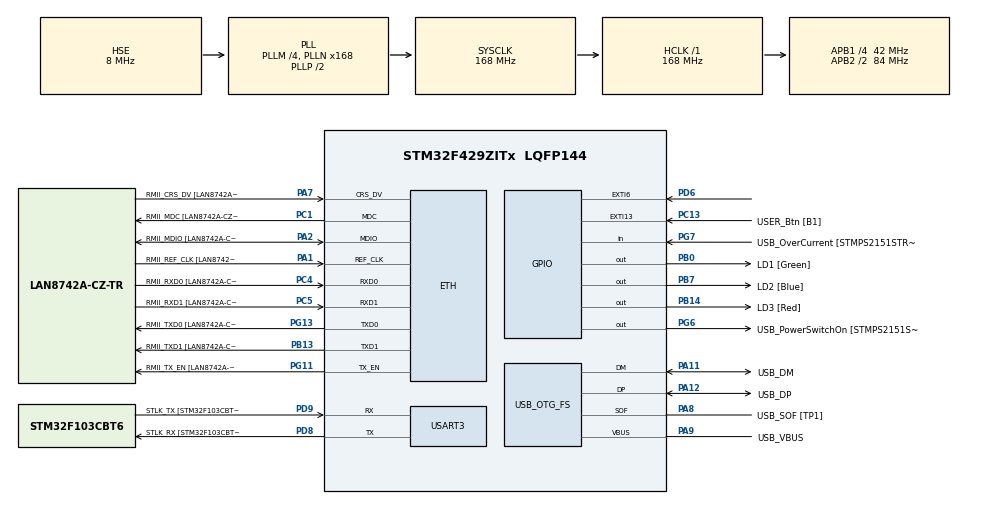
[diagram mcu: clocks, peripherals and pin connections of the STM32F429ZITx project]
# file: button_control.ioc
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ETH.MediaInterface=HAL_ETH_RMII_MODE
ETH.PHY_Name=LAN8742A_PHY_ADDRESS
ETH.PHY_Value=0
ETH.PhyAddress=0
Mcu.Family=STM32F4
Mcu.Name=STM32F429ZITx
Mcu.Package=LQFP144
NVIC.EXTI15_10_IRQn=true\:0\:0\:false\:true\:true\:3\:true\:true\:true
NVIC.EXTI9_5_IRQn=true\:0\:0\:false\:true\:true\:1\:true\:true\:true
NVIC.PriorityGroup=NVIC_PRIORITYGROUP_4
NVIC.USART3_IRQn=true\:0\:0\:false\:true\:true\:2\:true\:true\:true
PA1.GPIO_Label=RMII_REF_CLK [LAN8742A-CZ-TR_REFCLK0]
PA1.Mode=RMII
PA1.Signal=ETH_REF_CLK
PA10.GPIO_Label=USB_ID
PA10.Signal=USB_OTG_FS_ID
PA11.GPIO_Label=USB_DM
PA11.Mode=Device_Only
PA11.Signal=USB_OTG_FS_DM
PA12.GPIO_Label=USB_DP
PA12.Mode=Device_Only
PA12.Signal=USB_OTG_FS_DP
PA13.GPIO_Label=TMS
PA13.Mode=Serial_Wire
PA13.Signal=SYS_JTMS-SWDIO
PA14.GPIO_Label=TCK
PA14.Mode=Serial_Wire
PA14.Signal=SYS_JTCK-SWCLK
PA2.GPIO_Label=RMII_MDIO [LAN8742A-CZ-TR_MDIO]
PA2.Mode=RMII
PA2.Signal=ETH_MDIO
PA7.GPIO_Label=RMII_CRS_DV [LAN8742A-CZ-TR_CRS_DV]
PA7.Mode=RMII
PA7.Signal=ETH_CRS_DV
PA8.GPIO_Label=USB_SOF [TP1]
PA8.Mode=Activate_SOF_FS
PA8.Signal=USB_OTG_FS_SOF
PA9.GPIO_Label=USB_VBUS
PA9.Mode=Activate_VBUS
PA9.Signal=USB_OTG_FS_VBUS
PB0.GPIO_Label=LD1 [Green]
PB0.Signal=GPIO_Output
PB13.GPIO_Label=RMII_TXD1 [LAN8742A-CZ-TR_TXD1]
PB13.Mode=RMII
PB13.Signal=ETH_TXD1
PB14.GPIO_Label=LD3 [Red]
PB14.Signal=GPIO_Output
PB7.GPIO_Label=LD2 [Blue]
PB7.Signal=GPIO_Output
PC1.GPIO_Label=RMII_MDC [LAN8742A-CZ-TR_MDC]
PC1.Mode=RMII
PC1.Signal=ETH_MDC
PC13.GPIO_Label=USER_Btn [B1]
PC13.GPIO_ModeDefaultEXTI=GPIO_MODE_IT_RISING_FALLING
PC13.Signal=GPXTI13
PC14/OSC32_IN.Mode=LSE-External-Oscillator
PC14/OSC32_IN.Signal=RCC_OSC32_IN
PC15/OSC32_OUT.Mode=LSE-External-Oscillator
PC15/OSC32_OUT.Signal=RCC_OSC32_OUT
PC4.GPIO_Label=RMII_RXD0 [LAN8742A-CZ-TR_RXD0]
PC4.Mode=RMII
PC4.Signal=ETH_RXD0
PC5.GPIO_Label=RMII_RXD1 [LAN8742A-CZ-TR_RXD1]
PC5.Mode=RMII
PC5.Signal=ETH_RXD1
PD6.GPIO_ModeDefaultEXTI=GPIO_MODE_IT_RISING_FALLING
PD6.GPIO_PuPd=GPIO_NOPULL
PD6.Signal=GPXTI6
PD8.GPIO_Label=STLK_RX [STM32F103CBT6_PA3]
PD8.Mode=Asynchronous
PD8.Signal=USART3_TX
PD9.GPIO_Label=STLK_TX [STM32F103CBT6_PA2]
PD9.Mode=Asynchronous
PD9.Signal=USART3_RX
PG11.GPIO_Label=RMII_TX_EN [LAN8742A-CZ-TR_TXEN]
PG11.Mode=RMII
PG11.Signal=ETH_TX_EN
PG13.GPIO_Label=RMII_TXD0 [LAN8742A-CZ-TR_TXD0]
PG13.Mode=RMII
PG13.Signal=ETH_TXD0
PG6.GPIO_Label=USB_PowerSwitchOn [STMPS2151STR_EN]
PG6.Signal=GPIO_Output
PG7.GPIO_Label=USB_OverCurrent [STMPS2151STR_FAULT]
PG7.Signal=GPIO_Input
PH0/OSC_IN.GPIO_Label=MCO [STM32F103CBT6_PA8]
PH0/OSC_IN.Mode=HSE-External-Clock-Source
PH0/OSC_IN.Signal=RCC_OSC_IN
PH1/OSC_OUT.Mode=HSE-External-Clock-Source
PH1/OSC_OUT.Signal=RCC_OSC_OUT
ProjectManager.HeapSize=0x200
ProjectManager.StackSize=0x400
ProjectManager.TargetToolchain=STM32CubeIDE
RCC.48MHZClocksFreq_Value=48000000
RCC.AHBFreq_Value=168000000
RCC.APB1CLKDivider=RCC_HCLK_DIV4
RCC.APB1Freq_Value=42000000
RCC.APB1TimFreq_Value=84000000
RCC.APB2CLKDivider=RCC_HCLK_DIV2
RCC.APB2Freq_Value=84000000
RCC.APB2TimCLKDivider=2
RCC.APB2TimFreq_Value=168000000
RCC.CortexFreq_Value=168000000
RCC.HCLKFreq_Value=168000000
RCC.HSE_VALUE=8000000
RCC.HSI_VALUE=16000000
RCC.PLLM=4
RCC.PLLMUL=RCC_PLL_MUL9
RCC.PLLN=168
RCC.PLLQ=7
RCC.PRESCALERUSB=RCC_USBCLKSOURCE_PLL_DIV1_5
RCC.SYSCLKFreq_VALUE=168000000
RCC.SYSCLKSource=RCC_SYSCLKSOURCE_PLLCLK
RCC.SYSCLKSourceVirtual=RCC_SYSCLKSOURCE_PLLCLK
RCC.USBFreq_Value=48000000
RCC.VCOOutputFreq_Value=336000000
USART3.VirtualMode=VM_ASYNC
USB_OTG_FS.VirtualMode=Device_Only
board=NUCLEO-F429ZI

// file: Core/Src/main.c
/* USER CODE BEGIN Header */
/**
  ******************************************************************************
  * @file           : main.c
  * @brief          : Main program body
  ******************************************************************************
  * @attention
  *
  * Copyright (c) 2023 STMicroelectronics.
  * All rights reserved.
  *
  * This software is licensed under terms that can be found in the LICENSE file
  * in the root directory of this software component.
  * If no LICENSE file comes with this software, it is provided AS-IS.
  *
  ******************************************************************************
  */
/* USER CODE END Header */
#include "main.h"
#include "eth.h"
#include "usart.h"
#include "usb_otg.h"
#include "gpio.h"

/* USER CODE BEGIN Includes */
#include "string.h"
#include "stdio.h"
/* USER CODE END Includes */

void SystemClock_Config(void);
static void MX_NVIC_Init(void);

int main(void)
{

  /* MCU Configuration--------------------------------------------------------*/

  /* Reset of all peripherals, Initializes the Flash interface and the Systick. */
  HAL_Init();

  /* Configure the system clock */
  SystemClock_Config();

  /* Initialize all configured peripherals */
  MX_GPIO_Init();
  MX_ETH_Init();
  MX_USART3_UART_Init();
  MX_USB_OTG_FS_PCD_Init();

  /* Initialize interrupts */
  MX_NVIC_Init();

  /* Infinite loop */
  while (1)
  {

  }
}

void SystemClock_Config(void)
{
  RCC_OscInitTypeDef RCC_OscInitStruct = {0};
  RCC_ClkInitTypeDef RCC_ClkInitStruct = {0};

  /** Configure the main internal regulator output voltage
  */
  __HAL_RCC_PWR_CLK_ENABLE();
  __HAL_PWR_VOLTAGESCALING_CONFIG(PWR_REGULATOR_VOLTAGE_SCALE1);

  /** Initializes the RCC Oscillators according to the specified parameters
  * in the RCC_OscInitTypeDef structure.
  */
  RCC_OscInitStruct.OscillatorType = RCC_OSCILLATORTYPE_HSE;
  RCC_OscInitStruct.HSEState = RCC_HSE_BYPASS;
  RCC_OscInitStruct.PLL.PLLState = RCC_PLL_ON;
  RCC_OscInitStruct.PLL.PLLSource = RCC_PLLSOURCE_HSE;
  RCC_OscInitStruct.PLL.PLLM = 4;
  RCC_OscInitStruct.PLL.PLLN = 168;
  RCC_OscInitStruct.PLL.PLLP = RCC_PLLP_DIV2;
  RCC_OscInitStruct.PLL.PLLQ = 7;
  if (HAL_RCC_OscConfig(&RCC_OscInitStruct) != HAL_OK)
  {
    Error_Handler();
  }

  /** Initializes the CPU, AHB and APB buses clocks
  */
  RCC_ClkInitStruct.ClockType = RCC_CLOCKTYPE_HCLK|RCC_CLOCKTYPE_SYSCLK
                              |RCC_CLOCKTYPE_PCLK1|RCC_CLOCKTYPE_PCLK2;
  RCC_ClkInitStruct.SYSCLKSource = RCC_SYSCLKSOURCE_PLLCLK;
  RCC_ClkInitStruct.AHBCLKDivider = RCC_SYSCLK_DIV1;
  RCC_ClkInitStruct.APB1CLKDivider = RCC_HCLK_DIV4;
  RCC_ClkInitStruct.APB2CLKDivider = RCC_HCLK_DIV2;

  if (HAL_RCC_ClockConfig(&RCC_ClkInitStruct, FLASH_LATENCY_5) != HAL_OK)
  {
    Error_Handler();
  }
}

/**
  * @brief NVIC Configuration.
  * @retval None
  */
static void MX_NVIC_Init(void)
{
  /* EXTI9_5_IRQn interrupt configuration */
  HAL_NVIC_SetPriority(EXTI9_5_IRQn, 0, 0);
  HAL_NVIC_EnableIRQ(EXTI9_5_IRQn);
  /* USART3_IRQn interrupt configuration */
  HAL_NVIC_SetPriority(USART3_IRQn, 0, 0);
  HAL_NVIC_EnableIRQ(USART3_IRQn);
  /* EXTI15_10_IRQn interrupt configuration */
  HAL_NVIC_SetPriority(EXTI15_10_IRQn, 0, 0);
  HAL_NVIC_EnableIRQ(EXTI15_10_IRQn);
}
/* USER CODE BEGIN 4 */
void HAL_GPIO_EXTI_Callback(uint16_t GPIO_Pin)
{
	unsigned char r_buf[50], f_buf[50];
	unsigned int cTime = 0;
	unsigned int lTime = 0;
	unsigned int Interval = 0;

	if (GPIO_Pin == GPIO_PIN_6)
	{
		cTime = HAL_GetTick();
		lTime = cTime;
		Interval = cTime - lTime;

		if (HAL_GPIO_ReadPin(GPIOD, GPIO_PIN_6) == GPIO_PIN_RESET)
		{
			memset(r_buf, 0, sizeof(r_buf));
			sprintf(r_buf, "rising");
			HAL_UART_Transmit_IT(&huart3, r_buf, sizeof(r_buf));
		}
		else
		{
			memset(f_buf, 0, sizeof(f_buf));
			sprintf(f_buf, "falling || ctime = %u\r\n", Interval);
			HAL_UART_Transmit_IT(&huart3, f_buf, sizeof(f_buf));
		}
	}
}
/* USER CODE END 4 */

void Error_Handler(void)
{
  __disable_irq();
  while (1)
  {
  }
}
